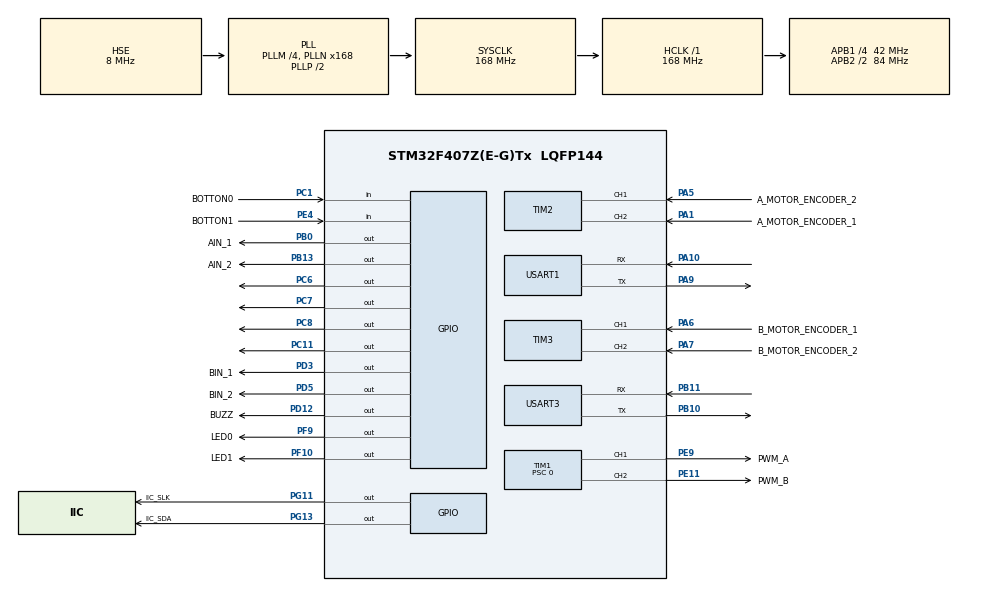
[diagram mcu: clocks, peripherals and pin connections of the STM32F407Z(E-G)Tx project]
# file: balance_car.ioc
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Dma.Request0=USART3_RX
Dma.Request1=USART1_RX
Dma.Request2=USART1_TX
Dma.USART1_RX.1.Direction=DMA_PERIPH_TO_MEMORY
Dma.USART1_RX.1.FIFOMode=DMA_FIFOMODE_DISABLE
Dma.USART1_RX.1.Instance=DMA2_Stream2
Dma.USART1_RX.1.MemDataAlignment=DMA_MDATAALIGN_BYTE
Dma.USART1_RX.1.MemInc=DMA_MINC_ENABLE
Dma.USART1_RX.1.Mode=DMA_NORMAL
Dma.USART1_RX.1.PeriphDataAlignment=DMA_PDATAALIGN_BYTE
Dma.USART1_RX.1.PeriphInc=DMA_PINC_DISABLE
Dma.USART1_RX.1.Priority=DMA_PRIORITY_VERY_HIGH
Dma.USART1_TX.2.Direction=DMA_MEMORY_TO_PERIPH
Dma.USART1_TX.2.FIFOMode=DMA_FIFOMODE_DISABLE
Dma.USART1_TX.2.Instance=DMA2_Stream7
Dma.USART1_TX.2.MemDataAlignment=DMA_MDATAALIGN_BYTE
Dma.USART1_TX.2.MemInc=DMA_MINC_ENABLE
Dma.USART1_TX.2.Mode=DMA_NORMAL
Dma.USART1_TX.2.PeriphDataAlignment=DMA_PDATAALIGN_BYTE
Dma.USART1_TX.2.PeriphInc=DMA_PINC_DISABLE
Dma.USART1_TX.2.Priority=DMA_PRIORITY_HIGH
Dma.USART3_RX.0.Direction=DMA_PERIPH_TO_MEMORY
Dma.USART3_RX.0.FIFOMode=DMA_FIFOMODE_DISABLE
Dma.USART3_RX.0.Instance=DMA1_Stream1
Dma.USART3_RX.0.MemDataAlignment=DMA_MDATAALIGN_BYTE
Dma.USART3_RX.0.MemInc=DMA_MINC_ENABLE
Dma.USART3_RX.0.Mode=DMA_NORMAL
Dma.USART3_RX.0.PeriphDataAlignment=DMA_PDATAALIGN_BYTE
Dma.USART3_RX.0.PeriphInc=DMA_PINC_DISABLE
Dma.USART3_RX.0.Priority=DMA_PRIORITY_VERY_HIGH
FREERTOS.Tasks01=defaultTask,-3,128,StartDefaultTask,Default,NULL,Dynamic,NULL,NULL
FREERTOS.configENABLE_FPU=1
FREERTOS.configTOTAL_HEAP_SIZE=40680
Mcu.Family=STM32F4
Mcu.Name=STM32F407Z(E-G)Tx
Mcu.Package=LQFP144
NVIC.DMA1_Stream1_IRQn=true\:5\:0\:false\:false\:true\:true\:false\:true\:true
NVIC.DMA2_Stream2_IRQn=true\:5\:0\:false\:false\:true\:true\:false\:true\:true
NVIC.DMA2_Stream7_IRQn=true\:5\:0\:false\:false\:true\:true\:false\:true\:true
NVIC.PriorityGroup=NVIC_PRIORITYGROUP_4
NVIC.TIM4_IRQn=true\:15\:0\:false\:false\:true\:false\:false\:true\:true
NVIC.TimeBase=TIM4_IRQn
NVIC.TimeBaseIP=TIM4
NVIC.USART1_IRQn=true\:5\:0\:false\:false\:true\:true\:true\:true\:true
NVIC.USART3_IRQn=true\:5\:0\:false\:false\:true\:true\:true\:true\:true
PA1.GPIO_Label=A_MOTOR_ENCODER_1
PA1.GPIO_Speed=GPIO_SPEED_FREQ_HIGH
PA1.Signal=S_TIM2_CH2
PA10.Mode=Asynchronous
PA10.Signal=USART1_RX
PA13.Mode=Serial_Wire
PA13.Signal=SYS_JTMS-SWDIO
PA14.Mode=Serial_Wire
PA14.Signal=SYS_JTCK-SWCLK
PA5.GPIO_Label=A_MOTOR_ENCODER_2
PA5.GPIO_Speed=GPIO_SPEED_FREQ_HIGH
PA5.Signal=S_TIM2_CH1_ETR
PA6.GPIO_Label=B_MOTOR_ENCODER_1
PA6.GPIO_Speed=GPIO_SPEED_FREQ_HIGH
PA6.Signal=S_TIM3_CH1
PA7.GPIO_Label=B_MOTOR_ENCODER_2
PA7.GPIO_Speed=GPIO_SPEED_FREQ_HIGH
PA7.Signal=S_TIM3_CH2
PA9.Mode=Asynchronous
PA9.Signal=USART1_TX
PB0.GPIO_Label=AIN_1
PB0.GPIO_Speed=GPIO_SPEED_FREQ_HIGH
PB0.Signal=GPIO_Output
PB10.Mode=Asynchronous
PB10.Signal=USART3_TX
PB11.Mode=Asynchronous
PB11.Signal=USART3_RX
PB13.GPIO_Label=AIN_2
PB13.Signal=GPIO_Output
PC1.GPIO_Label=BOTTON0
PC1.GPIO_PuPd=GPIO_PULLUP
PC1.Signal=GPIO_Input
PC11.Signal=GPIO_Output
PC6.Signal=GPIO_Output
PC7.Signal=GPIO_Output
PC8.Signal=GPIO_Output
PD12.GPIO_Label=BUZZ
PD12.GPIO_Speed=GPIO_SPEED_FREQ_HIGH
PD12.Signal=GPIO_Output
PD3.GPIO_Label=BIN_1
PD3.GPIO_Speed=GPIO_SPEED_FREQ_HIGH
PD3.Signal=GPIO_Output
PD5.GPIO_Label=BIN_2
PD5.GPIO_Speed=GPIO_SPEED_FREQ_HIGH
PD5.Signal=GPIO_Output
PE11.GPIO_Label=PWM_B
PE11.GPIO_Speed=GPIO_SPEED_FREQ_HIGH
PE11.Signal=S_TIM1_CH2
PE4.GPIO_Label=BOTTON1
PE4.GPIO_PuPd=GPIO_PULLUP
PE4.Signal=GPIO_Input
PE9.GPIO_Label=PWM_A
PE9.GPIO_Speed=GPIO_SPEED_FREQ_HIGH
PE9.Signal=S_TIM1_CH1
PF10.GPIO_Label=LED1
PF10.GPIO_Speed=GPIO_SPEED_FREQ_HIGH
PF10.PinState=GPIO_PIN_SET
PF10.Signal=GPIO_Output
PF9.GPIO_Label=LED0
PF9.GPIO_Speed=GPIO_SPEED_FREQ_HIGH
PF9.PinState=GPIO_PIN_SET
PF9.Signal=GPIO_Output
PG11.GPIO_Label=IIC_SLK
PG11.GPIO_ModeDefaultOutputPP=GPIO_MODE_OUTPUT_OD
PG11.GPIO_PuPd=GPIO_NOPULL
PG11.GPIO_Speed=GPIO_SPEED_FREQ_HIGH
PG11.PinState=GPIO_PIN_SET
PG11.Signal=GPIO_Output
PG13.GPIO_Label=IIC_SDA
PG13.GPIO_ModeDefaultOutputPP=GPIO_MODE_OUTPUT_OD
PG13.GPIO_PuPd=GPIO_NOPULL
PG13.GPIO_Speed=GPIO_SPEED_FREQ_HIGH
PG13.PinState=GPIO_PIN_SET
PG13.Signal=GPIO_Output
PH0-OSC_IN.Mode=HSE-External-Oscillator
PH0-OSC_IN.Signal=RCC_OSC_IN
PH1-OSC_OUT.Mode=HSE-External-Oscillator
PH1-OSC_OUT.Signal=RCC_OSC_OUT
ProjectManager.HeapSize=0x200
ProjectManager.StackSize=0x400
ProjectManager.TargetToolchain=CMake
RCC.48MHZClocksFreq_Value=84000000
RCC.AHBFreq_Value=168000000
RCC.APB1CLKDivider=RCC_HCLK_DIV4
RCC.APB1Freq_Value=42000000
RCC.APB1TimFreq_Value=84000000
RCC.APB2CLKDivider=RCC_HCLK_DIV2
RCC.APB2Freq_Value=84000000
RCC.APB2TimFreq_Value=168000000
RCC.CortexFreq_Value=168000000
RCC.HCLKFreq_Value=168000000
RCC.HSE_VALUE=8000000
RCC.HSI_VALUE=16000000
RCC.LSE_VALUE=32768
RCC.PLLM=4
RCC.PLLN=168
RCC.PLLSourceVirtual=RCC_PLLSOURCE_HSE
RCC.SYSCLKFreq_VALUE=168000000
RCC.SYSCLKSource=RCC_SYSCLKSOURCE_PLLCLK
RCC.VCOOutputFreq_Value=336000000
SH.S_TIM1_CH1.0=TIM1_CH1,PWM Generation1 CH1
SH.S_TIM1_CH2.0=TIM1_CH2,PWM Generation2 CH2
SH.S_TIM2_CH1_ETR.0=TIM2_CH1,Encoder_Interface
SH.S_TIM2_CH2.0=TIM2_CH2,Encoder_Interface
SH.S_TIM3_CH1.0=TIM3_CH1,Encoder_Interface
SH.S_TIM3_CH2.0=TIM3_CH2,Encoder_Interface
STMicroelectronics.X-CUBE-ALGOBUILD.1.4.0.LibraryCcDSPOoLibraryJjDSPOoLibrary=true
TIM1.AutoReloadPreload=TIM_AUTORELOAD_PRELOAD_ENABLE
TIM1.Channel-PWM\ Generation1\ CH1=TIM_CHANNEL_1
TIM1.Channel-PWM\ Generation2\ CH2=TIM_CHANNEL_2
TIM1.OCFastMode_PWM-PWM\ Generation1\ CH1=TIM_OCFAST_ENABLE
TIM1.OCFastMode_PWM-PWM\ Generation2\ CH2=TIM_OCFAST_ENABLE
TIM1.Period=7200-1
TIM1.Prescaler=0
TIM2.EncoderMode=TIM_ENCODERMODE_TI12
TIM3.EncoderMode=TIM_ENCODERMODE_TI12
TIM3.IC1Filter=6
TIM3.IC2Filter=6
USART1.VirtualMode=VM_ASYNC
USART3.VirtualMode=VM_ASYNC
VP_FREERTOS_VS_CMSIS_V1.Mode=CMSIS_V1
VP_STMicroelectronics.X-CUBE-ALGOBUILD_VS_DSPOoLibraryJjLibrary_1.4.0_1.4.0.Mode=DSPOoLibraryJjLibrary
VP_SYS_VS_tim4.Mode=TIM4
VP_TIM1_VS_ClockSourceINT.Mode=Internal
board=custom

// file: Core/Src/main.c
/* USER CODE BEGIN Header */
/**
  ******************************************************************************
  * @file           : main.c
  * @brief          : Main program body
  ******************************************************************************
  * @attention
  *
  * Copyright (c) 2026 STMicroelectronics.
  * All rights reserved.
  *
  * This software is licensed under terms that can be found in the LICENSE file
  * in the root directory of this software component.
  * If no LICENSE file comes with this software, it is provided AS-IS.
  *
  ******************************************************************************
  */
/* USER CODE END Header */
#include "main.h"
#include "cmsis_os.h"
#include "dma.h"
#include "tim.h"
#include "usart.h"
#include "gpio.h"

/* USER CODE BEGIN Includes */
#include "Encoder.h"
#include "key.h"
#include "LED.h"
#include "MPU6050.h"
#include "PWM.h"
#include "Motor.h"
#include "MyI2C.h"
#include "bsp_dwt.h"
#include "DMP_MPU6050.h"
/* USER CODE END Includes */

void SystemClock_Config(void);
void MX_FREERTOS_Init(void);
/* USER CODE BEGIN PFP */
extern void gray_sensor_init();
extern uint8_t BSP_DWT_Init(void);
/* USER CODE END PFP */

int main(void)
{

  /* MCU Configuration--------------------------------------------------------*/

  /* Reset of all peripherals, Initializes the Flash interface and the Systick. */
  HAL_Init();

  /* Configure the system clock */
  SystemClock_Config();

  /* USER CODE BEGIN SysInit */
  BSP_DWT_Init();
  /* USER CODE END SysInit */

  /* Initialize all configured peripherals */
  MX_GPIO_Init();
  MX_DMA_Init();
  MX_TIM1_Init();
  MX_TIM2_Init();
  MX_TIM3_Init();
  MX_USART1_UART_Init();
  MX_USART3_UART_Init();
  /* USER CODE BEGIN 2 */
  Encoder_Init();
  MPU6050_Init();
  DWT_Delay_ms(500);
  Motor_Init();
  MyI2C_Init();
  gray_sensor_init();
  /* USER CODE END 2 */

  /* Call init function for freertos objects (in cmsis_os2.c) */
  MX_FREERTOS_Init();

  /* Start scheduler */
  osKernelStart();

  /* We should never get here as control is now taken by the scheduler */

  /* Infinite loop */
  while (1) {

  }
}

void SystemClock_Config(void)
{
  RCC_OscInitTypeDef RCC_OscInitStruct = {0};
  RCC_ClkInitTypeDef RCC_ClkInitStruct = {0};

  /** Configure the main internal regulator output voltage
  */
  __HAL_RCC_PWR_CLK_ENABLE();
  __HAL_PWR_VOLTAGESCALING_CONFIG(PWR_REGULATOR_VOLTAGE_SCALE1);

  /** Initializes the RCC Oscillators according to the specified parameters
  * in the RCC_OscInitTypeDef structure.
  */
  RCC_OscInitStruct.OscillatorType = RCC_OSCILLATORTYPE_HSE;
  RCC_OscInitStruct.HSEState = RCC_HSE_ON;
  RCC_OscInitStruct.PLL.PLLState = RCC_PLL_ON;
  RCC_OscInitStruct.PLL.PLLSource = RCC_PLLSOURCE_HSE;
  RCC_OscInitStruct.PLL.PLLM = 4;
  RCC_OscInitStruct.PLL.PLLN = 168;
  RCC_OscInitStruct.PLL.PLLP = RCC_PLLP_DIV2;
  RCC_OscInitStruct.PLL.PLLQ = 4;
  if (HAL_RCC_OscConfig(&RCC_OscInitStruct) != HAL_OK)
  {
    Error_Handler();
  }

  /** Initializes the CPU, AHB and APB buses clocks
  */
  RCC_ClkInitStruct.ClockType = RCC_CLOCKTYPE_HCLK|RCC_CLOCKTYPE_SYSCLK
                              |RCC_CLOCKTYPE_PCLK1|RCC_CLOCKTYPE_PCLK2;
  RCC_ClkInitStruct.SYSCLKSource = RCC_SYSCLKSOURCE_PLLCLK;
  RCC_ClkInitStruct.AHBCLKDivider = RCC_SYSCLK_DIV1;
  RCC_ClkInitStruct.APB1CLKDivider = RCC_HCLK_DIV4;
  RCC_ClkInitStruct.APB2CLKDivider = RCC_HCLK_DIV2;

  if (HAL_RCC_ClockConfig(&RCC_ClkInitStruct, FLASH_LATENCY_5) != HAL_OK)
  {
    Error_Handler();
  }
}

void HAL_TIM_PeriodElapsedCallback(TIM_HandleTypeDef *htim)
{
  if (htim->Instance == TIM4)
  {
    HAL_IncTick();
  }
}

void Error_Handler(void)
{
  __disable_irq();
  while (1) {
  }
}

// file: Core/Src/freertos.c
/* USER CODE BEGIN Header */
/**
  ******************************************************************************
  * File Name          : freertos.c
  * Description        : Code for freertos applications
  ******************************************************************************
  * @attention
  *
  * Copyright (c) 2026 STMicroelectronics.
  * All rights reserved.
  *
  * This software is licensed under terms that can be found in the LICENSE file
  * in the root directory of this software component.
  * If no LICENSE file comes with this software, it is provided AS-IS.
  *
  ******************************************************************************
  */
/* USER CODE END Header */

#include "FreeRTOS.h"
#include "task.h"
#include "main.h"
#include "cmsis_os.h"

osThreadId defaultTaskHandle;

/* USER CODE BEGIN FunctionPrototypes */
extern void MPU6050_Task();
extern void ChassisRun_Task();
extern void KeyScan_Task();
extern void  gray_sensor_task() ;
extern void Debug_Task();
/* USER CODE END FunctionPrototypes */

void StartDefaultTask(void const * argument);

void MX_FREERTOS_Init(void); /* (MISRA C 2004 rule 8.1) */

/* GetIdleTaskMemory prototype (linked to static allocation support) */
void vApplicationGetIdleTaskMemory( StaticTask_t **ppxIdleTaskTCBBuffer, StackType_t **ppxIdleTaskStackBuffer, uint32_t *pulIdleTaskStackSize );

/* USER CODE BEGIN GET_IDLE_TASK_MEMORY */
static StaticTask_t xIdleTaskTCBBuffer;
static StackType_t xIdleStack[configMINIMAL_STACK_SIZE];

void vApplicationGetIdleTaskMemory( StaticTask_t **ppxIdleTaskTCBBuffer, StackType_t **ppxIdleTaskStackBuffer, uint32_t *pulIdleTaskStackSize )
{
  *ppxIdleTaskTCBBuffer = &xIdleTaskTCBBuffer;
  *ppxIdleTaskStackBuffer = &xIdleStack[0];
  *pulIdleTaskStackSize = configMINIMAL_STACK_SIZE;
  /* place for user code */
}
/* USER CODE END GET_IDLE_TASK_MEMORY */

void MX_FREERTOS_Init(void) {

  /* Create the thread(s) */
  /* definition and creation of defaultTask */
  osThreadDef(defaultTask, StartDefaultTask, osPriorityIdle, 0, 128);
  defaultTaskHandle = osThreadCreate(osThread(defaultTask), NULL);

  /* USER CODE BEGIN RTOS_THREADS */
  /* add threads, ... */
  MPU6050_Task();
  ChassisRun_Task();
  KeyScan_Task();
  gray_sensor_task();
  Debug_Task();
  /* USER CODE END RTOS_THREADS */

}

void StartDefaultTask(void const * argument)
{
  for(;;)
  {
    osDelay(1);
  }
}
